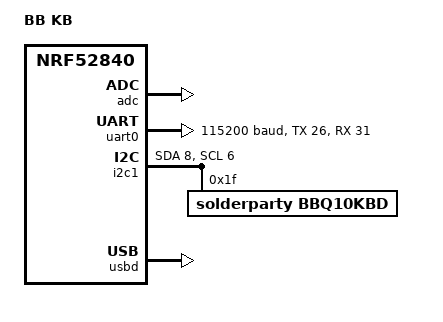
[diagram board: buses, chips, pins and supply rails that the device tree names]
/*
 * Copyright (c) 2017 Linaro Limited
 *
 * SPDX-License-Identifier: Apache-2.0
 */

/dts-v1/;
#include <nordic/nrf52840_qiaa.dtsi>

/ {
	model = "BB KB";
	compatible = "nordic,nrf52840-dk-nrf52840";

	chosen {
		zephyr,sram = &sram0;
		zephyr,flash = &flash0;
		zephyr,code-partition = &slot0_partition;
	};
};

&adc {
	status = "okay";
};

&gpiote {
	status = "okay";
};

&gpio0 {
	status = "okay";
};

&gpio1 {
	status = "okay";
};

&uart0 {
	compatible = "nordic,nrf-uarte";
	status = "okay";
	current-speed = <115200>;
	tx-pin = <26>;
	rx-pin = <31>;
	rts-pin = <29>;
	cts-pin = <2>;
};

&i2c1 {
	compatible = "nordic,nrf-twi";
	status = "okay";
	sda-pin = <8>; // 8, 6, 4
	scl-pin = <6>;

	bbq10kbd@1f {
        compatible = "solderparty,bbq10kbd";
		reg = <0x1f>;
        label = "BBQ10KBD";
    };
};

&flash0 {

	partitions {
		compatible = "fixed-partitions";
		#address-cells = <1>;
		#size-cells = <1>;

		boot_partition: partition@0 {
			label = "mcuboot";
			reg = <0x000000000 0x0000C000>;
		};
		slot0_partition: partition@c000 {
			label = "image-0";
			reg = <0x0000C000 0x00067000>;
		};
		slot1_partition: partition@73000 {
			label = "image-1";
			reg = <0x00073000 0x00067000>;
		};
		scratch_partition: partition@da000 {
			label = "image-scratch";
			reg = <0x000da000 0x0001e000>;
		};

		/*
		 * The flash starting at 0x000f8000 and ending at
		 * 0x000fffff is reserved for use by the application.
		 */

		/*
		 * Storage partition will be used by FCB/LittleFS/NVS
		 * if enabled.
		 */
		storage_partition: partition@f8000 {
			label = "storage";
			reg = <0x000f8000 0x00008000>;
		};
	};
};

&usbd {
	compatible = "nordic,nrf-usbd";
	status = "okay";
};
